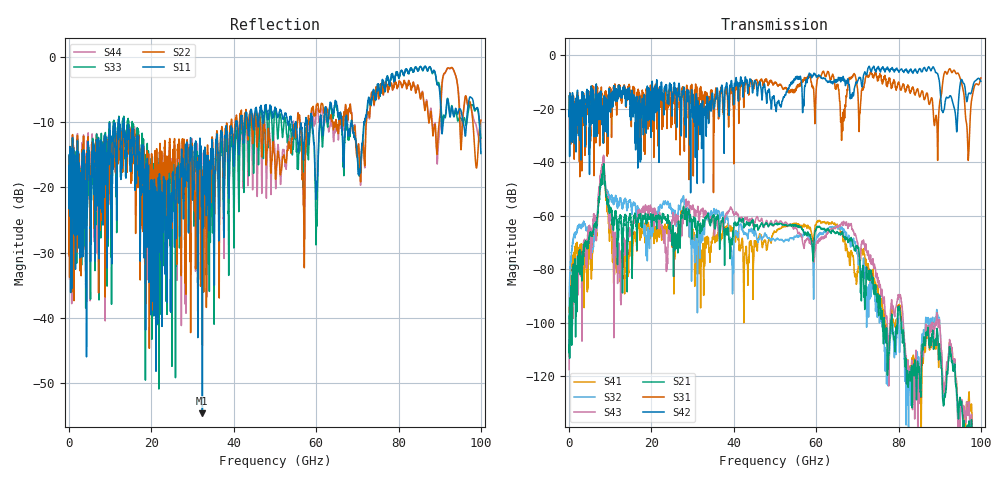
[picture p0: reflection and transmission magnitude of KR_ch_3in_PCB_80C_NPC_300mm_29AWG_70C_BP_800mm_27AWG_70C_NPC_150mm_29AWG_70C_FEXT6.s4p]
# Hz S RI R 45
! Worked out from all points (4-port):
!   4000 points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, 25 MHz to 100 GHz, reference 45 ohm
!   strongest paths, dB at 25 MHz, 25.02 GHz, 50.02 GHz, 75.03 GHz, 100 GHz:
!     S42: -20.7, -20.7, -18.8, -4.2, -9.7
!     S31: -20.7, -20.9, -10.3, -8.7, -8.4
!     S21: -108.7, -69.4, -63.1, -91.8, -168.8
!     S43: -117.6, -62.4, -62.1, -83.6, -162.1
!     S32: -98.5, -59.0, -69.4, -93.4, -184.6
!     S41: -105.2, -70.2, -66.1, -87.1, -162.5
!   lowest |S11| = -54.6 dB at 32.38 GHz (marker M1), VSWR 1.00, Z = 45.2 - j0.00783 ohm
!   |S11| at or under -10 dB: start of sweep to 12.06 GHz; 13.32 GHz to 40.53 GHz (27.21 GHz wide, 101 % of centre); 68.67 GHz to 71.58 GHz (2.909 GHz wide, 4.15 % of centre) (the widest 3 of 28)
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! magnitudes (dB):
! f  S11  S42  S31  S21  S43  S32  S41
! 25 MHz  -16.6  -20.7  -20.7  -108.7  -117.6  -98.5  -105.2
! 8.1 GHz  -15.8  -19.0  -16.3  -47.6  -42.6  -45.8  -44.3
! 12.38 GHz  -11.9  -15.0  -12.8  -59.7  -80.2  -53.4  -81.7
! 32.38 GHz  -54.6  -18.2  -21.5  -64.4  -57.9  -68.7  -75.0
! 92.53 GHz  -9.2  -15.1  -5.0  -110.2  -107.0  -108.9  -108.0
! 96.88 GHz  -7.6  -15.0  -37.6  -139.0  -134.3  -143.9  -130.3
! 100 GHz  -14.8  -9.7  -8.4  -168.8  -162.1  -184.6  -162.5
